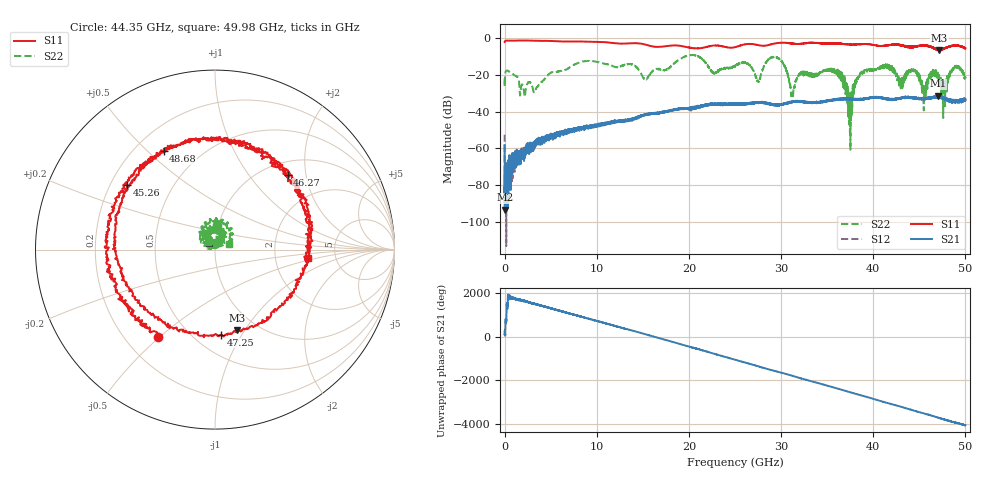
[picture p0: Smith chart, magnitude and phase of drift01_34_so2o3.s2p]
!Created with skrf (http://scikit-rf.org).
# Hz S RI R 50.0
!freq ReS11 ImS11 ReS21 ImS21 ReS12 ImS12 ReS22 ImS22
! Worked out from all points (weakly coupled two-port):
!   10001 points, 300 kHz to 50 GHz, reference 50 ohm
!   highest |S21| = -31.41 dB at 47.04 GHz (marker M1); lowest = -93.3 dB at 90.3 MHz (marker M2)
!   lowest |S11| = -6.7 dB at 47.18 GHz (marker M3), VSWR 2.73, Z = 40.4 - j46.1 ohm
!   |S11| at or under -10 dB: nowhere
!   |S22| runs from -60.8 to -9.2 dB; largest |S21 - S12| = 0.0039
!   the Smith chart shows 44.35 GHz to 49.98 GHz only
!   S11 on the Smith chart (normalised r, x): 44.35 GHz: 0.34, -0.49; 45.26 GHz: 0.27, +0.31; 46.27 GHz: 1.25, +1.58; 47.25 GHz: 0.67, -0.82; 48.68 GHz: 0.31, +0.56; 49.98 GHz: 3.10, -0.41
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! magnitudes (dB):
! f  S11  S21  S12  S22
! 300 kHz  -2.2  -58.2  -52.5  -22.2
! 90.3 MHz  -1.5  -93.3  -87.2  -18.6
! 3.29 GHz  -1.5  -56.7  -56.5  -28.8
! 8.335 GHz  -1.9  -48.7  -49.0  -12.9
! 16.67 GHz  -4.8  -40.7  -40.7  -16.7
! 25 GHz  -5.0  -35.9  -36.0  -15.5
! 29.59 GHz  -2.8  -36.3  -36.5  -10.7
! 31.23 GHz  -3.1  -34.7  -34.7  -31.1
! 33.34 GHz  -2.6  -35.1  -35.3  -20.0
! 36.19 GHz  -3.2  -33.4  -33.3  -19.9
! 37.47 GHz  -3.6  -33.5  -33.2  -51.5
! 38.65 GHz  -3.4  -33.0  -33.2  -20.1
! 41.67 GHz  -3.9  -33.4  -33.3  -15.7
! 44.35 GHz  -4.7  -32.4  -32.8  -17.1
! 45.26 GHz  -4.3  -33.4  -32.9  -24.6
! 46.27 GHz  -4.7  -32.4  -32.6  -18.9
! 47.04 GHz  -6.2  -31.4  -31.9  -21.8
! 47.18 GHz  -6.7  -32.5  -32.0  -21.9
! 47.25 GHz  -6.5  -32.1  -32.1  -25.4
! 48.68 GHz  -4.2  -33.7  -34.0  -16.5
! 49.98 GHz  -5.7  -34.3  -33.6  -21.6
! 50 GHz  -5.6  -33.4  -33.4  -21.4
